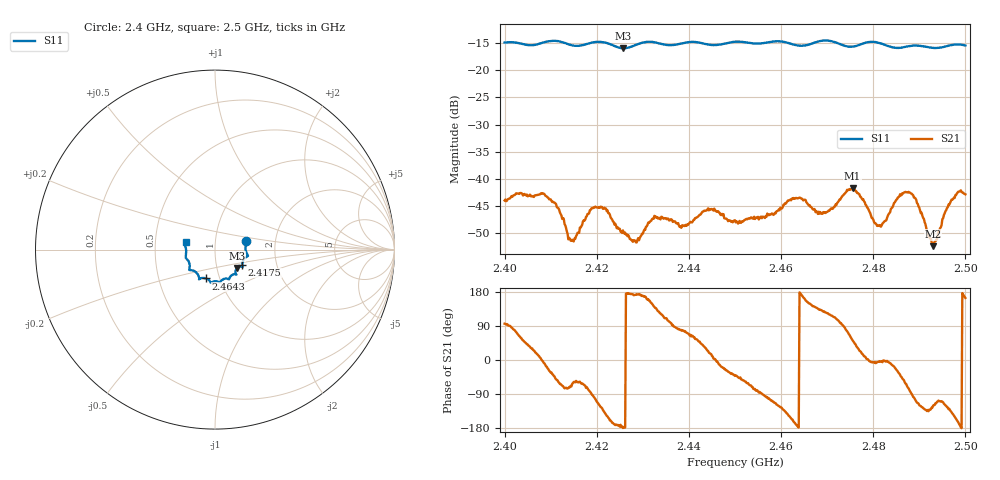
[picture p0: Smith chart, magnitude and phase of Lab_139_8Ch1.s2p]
# Hz S RI R 50
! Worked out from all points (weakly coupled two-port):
!   601 points, 2.4 GHz to 2.5 GHz, reference 50 ohm
!   highest |S21| = -41.80 dB at 2.4755 GHz (marker M1); lowest = -52.4 dB at 2.493 GHz (marker M2)
!   lowest |S11| = -15.9 dB at 2.4257 GHz (marker M3), VSWR 1.38, Z = 62.5 - j13.1 ohm
!   |S11| at or under -10 dB: start of sweep to end of sweep
!   S12 and S22 are empty: the file has one direction only
!   S11 on the Smith chart (normalised r, x): 2.4 GHz: 1.41, +0.14; 2.4175 GHz: 1.33, -0.23; 2.4643 GHz: 0.86, -0.28; 2.5 GHz: 0.72, +0.06
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2.4e9  0.1735 0.0488  -0.000634 0.00627  0 0  0 0
2.408333e9  0.1787 -0.0236  0.00731 -0.000523  0 0  0 0
2.414333e9  0.1643 -0.0488  0.000996 -0.00249  0 0  0 0
2.416667e9  0.1527 -0.074  0.00169 -0.00323  0 0  0 0
2.4175e9  0.1517 -0.0836  0.00159 -0.00389  0 0  0 0
2.4215e9  0.1536 -0.0961  -0.00374 -0.00374  0 0  0 0
2.425667e9  0.1229 -0.1019  -0.00334 -3.2e-05  0 0  0 0
2.428667e9  0.1149 -0.1292  -0.00257 0.000281  0 0  0 0
2.433333e9  0.1134 -0.1371  -0.00266 0.00336  0 0  0 0
2.4385e9  0.0811 -0.1572  0.00083 0.00362  0 0  0 0
2.445e9  0.0561 -0.1617  0.00516 0.00097  0 0  0 0
2.45e9  0.0286 -0.1812  0.00307 -0.00277  0 0  0 0
2.464333e9  -0.0501 -0.1608  -0.00653 0.000775  0 0  0 0
2.466667e9  -0.0763 -0.1588  -0.00441 0.00312  0 0  0 0
2.47e9  -0.0889 -0.166  -0.00275 0.00411  0 0  0 0
2.4755e9  -0.1111 -0.1221  0.00499 0.00641  0 0  0 0
2.480833e9  -0.1435 -0.1102  0.00366 -0.000357  0 0  0 0
2.483333e9  -0.1406 -0.0898  0.00468 -0.000447  0 0  0 0
2.488167e9  -0.161 -0.0483  0.000528 -0.00731  0 0  0 0
2.493e9  -0.1605 -0.0138  -0.0012 -0.00206  0 0  0 0
2.496833e9  -0.1684 0.0265  -0.00436 -0.00436  0 0  0 0
2.5e9  -0.1642 0.0428  -0.00689 0.00201  0 0  0 0
